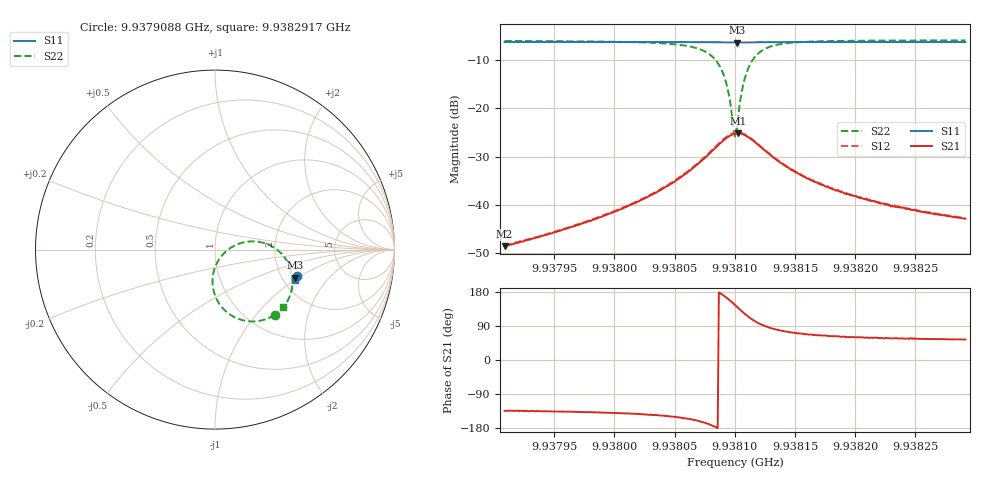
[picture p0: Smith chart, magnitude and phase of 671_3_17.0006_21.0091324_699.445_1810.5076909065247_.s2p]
#  HZ  S  RI  R  50.00
! Rohde & Schwarz Vector Network Analyzer
! Rohde-Schwarz,ZNB20-2Port,1311601062101988,3.16
! Created: UTC 3/20/2024, 11:22:10 PM
! freq[Hz]  re:S11  im:S11  re:S21  im:S21  re:S12  im:S12  re:S22  im:S22
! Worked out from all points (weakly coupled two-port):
!   401 points, 9.9379088 GHz to 9.9382917 GHz, reference 50 ohm
!   highest |S21| = -25.19 dB at 9.9381031 GHz (marker M1); lowest = -48.5 dB at 9.9379088 GHz (marker M2)
!   lowest |S11| = -6.5 dB at 9.9381021 GHz (marker M3), VSWR 2.80, Z = 117 - j47.5 ohm
!   |S11| at or under -10 dB: nowhere
!   |S22| runs from -25.8 to -6.1 dB; largest |S21 - S12| = 0.0023
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9.93790878e9  0.4576 -0.1481  -0.00262 -0.0027  -0.00267 -0.00273  0.3327 -0.363
9.93797292e9  0.4557 -0.1526  -0.00473 -0.00437  -0.00484 -0.00438  0.3102 -0.376
9.93801121e9  0.4545 -0.1555  -0.00758 -0.0061  -0.0078 -0.0061  0.2828 -0.3878
9.93803705e9  0.4534 -0.1572  -0.0117 -0.00774  -0.0119 -0.00788  0.2467 -0.3969
9.93806673e9  0.4512 -0.1595  -0.0233 -0.00903  -0.0238 -0.00894  0.1505 -0.3923
9.938083e9  0.4488 -0.1603  -0.0377 -0.00303  -0.0389 -0.00228  0.0396 -0.3221
9.93808874e9  0.4479 -0.1599  -0.0439 0.00445  -0.0452 0.00538  -0.000513 -0.2529
9.93809257e9  0.4472 -0.1594  -0.0471 0.0117  -0.0481 0.0132  -0.0137 -0.1875
9.93809545e9  0.4468 -0.1588  -0.0478 0.0188  -0.0487 0.0205  -0.00912 -0.1303
9.93809832e9  0.4468 -0.1581  -0.0468 0.0259  -0.047 0.0282  0.0124 -0.0717
9.93810023e9  0.4468 -0.1576  -0.0447 0.0309  -0.0448 0.0331  0.0369 -0.0353
9.93810215e9  0.447 -0.157  -0.0415 0.0355  -0.0414 0.0377  0.0684 -0.00381
9.9381031e9  0.4471 -0.1568  -0.0401 0.0377  -0.0395 0.0397  0.0865 0.00961
9.93810598e9  0.4477 -0.1563  -0.0334 0.0423  -0.0327 0.0443  0.146 0.0369
9.93810885e9  0.4484 -0.1561  -0.0265 0.0449  -0.0254 0.0467  0.2061 0.046
9.93811268e9  0.4491 -0.1559  -0.0174 0.0454  -0.0162 0.0467  0.2781 0.035
9.93811842e9  0.4505 -0.1564  -0.00715 0.0423  -0.00604 0.043  0.3551 -0.00834
9.93813374e9  0.4516 -0.1587  0.00466 0.0296  0.00554 0.0297  0.4268 -0.1276
9.93816437e9  0.4515 -0.162  0.00703 0.0165  0.00746 0.0164  0.4244 -0.2367
9.93819404e9  0.4507 -0.1646  0.00641 0.0113  0.00655 0.0112  0.4088 -0.277
9.9382285e9  0.4497 -0.1672  0.0054 0.00833  0.00563 0.00823  0.3957 -0.3004
9.93829168e9  0.4479 -0.1715  0.00424 0.00584  0.00441 0.00588  0.3801 -0.3215
